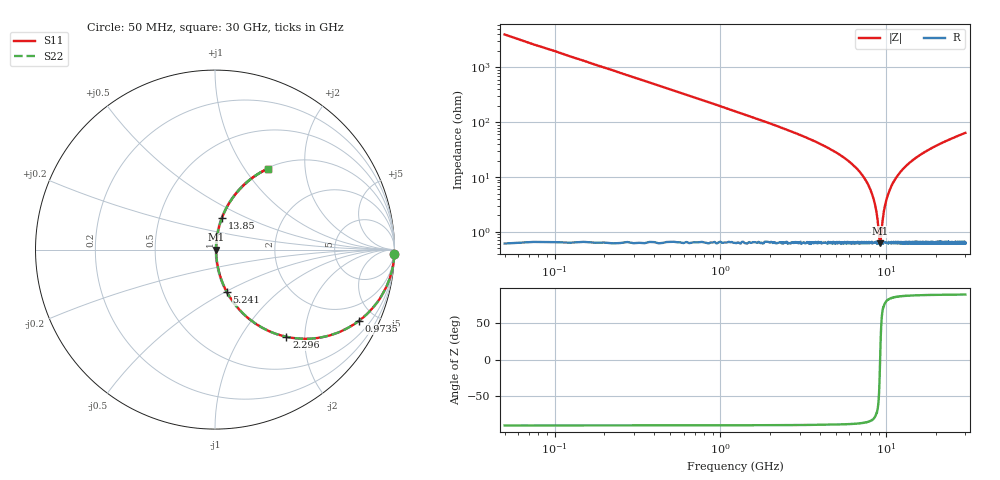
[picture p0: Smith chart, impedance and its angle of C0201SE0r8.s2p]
!	AVX Thin Film Operation 	Date: April 2014
!	Description: Accu-P® Series, Thin Film  SMD RF Capacitor
!	Part Number: 02015J0R8PBSTR
# MHZ S MA R 50
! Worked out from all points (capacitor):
!   1201 points, 50 MHz to 30 GHz, reference 50 ohm
!   read as one part in series: C = 799 fF near 199.8 MHz
!   lowest |Z| = 620 mohm at 9.185 GHz (marker M1)
!   series resonance near 9.181 GHz, so ESL is about 380 pH
!   S11 on the Smith chart (normalised r, x): 50 MHz: 0, -80; 973.5 MHz: 1.01, -4.04; 2.296 GHz: 1.01, -1.62; 5.241 GHz: 1.01, -0.51; 13.85 GHz: 1.01, +0.37; 30 GHz: 1.01, +1.28
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50  1 -1.4  0.025 88.6  0.025 88.6  1 -1.4
249.667  0.992 -7.2  0.125 82.8  0.125 82.8  0.992 -7.2
399.417  0.98 -11.4  0.197 78.6  0.197 78.6  0.98 -11.4
973.458  0.895 -26.3  0.443 63.5  0.443 63.5  0.895 -26.3
2296.25  0.628 -50.6  0.773 38.9  0.773 38.9  0.628 -50.6
3494.25  0.436 -63.4  0.895 25.8  0.895 25.8  0.436 -63.4
5041.667  0.264 -73.4  0.958 15.3  0.958 15.3  0.264 -73.4
5241.333  0.246 -74.3  0.963 14.3  0.963 14.3  0.246 -74.3
6913.542  0.123 -80.0  0.986 7.1  0.986 7.1  0.123 -80.0
7961.792  0.062 -80.6  0.992 3.5  0.992 3.5  0.062 -80.6
8585.75  0.03 -76.0  0.993 1.7  0.993 1.7  0.03 -76.0
9059.958  0.008525 -41.9  0.994 0.3  0.994 0.3  0.008525 -41.9
9184.75  0.006312 1.4  0.994 -0.0  0.994 -0.0  0.006312 1.4
9284.583  0.007937 37.1  0.994 -0.3  0.994 -0.3  0.007937 37.1
9683.917  0.024 73.3  0.993 -1.3  0.993 -1.3  0.024 73.3
10058.29  0.04 78.6  0.993 -2.3  0.993 -2.3  0.04 78.6
11455.96  0.096 80.8  0.989 -5.5  0.989 -5.5  0.096 80.8
13851.96  0.179 77.7  0.978 -10.3  0.978 -10.3  0.179 77.7
15025  0.216 75.9  0.97 -12.4  0.97 -12.4  0.216 75.9
20016.67  0.348 68.7  0.932 -20.3  0.932 -20.3  0.348 68.7
25033.29  0.453 62.4  0.886 -26.9  0.886 -26.9  0.453 62.4
30000  0.538 56.9  0.838 -32.5  0.838 -32.5  0.538 56.9
